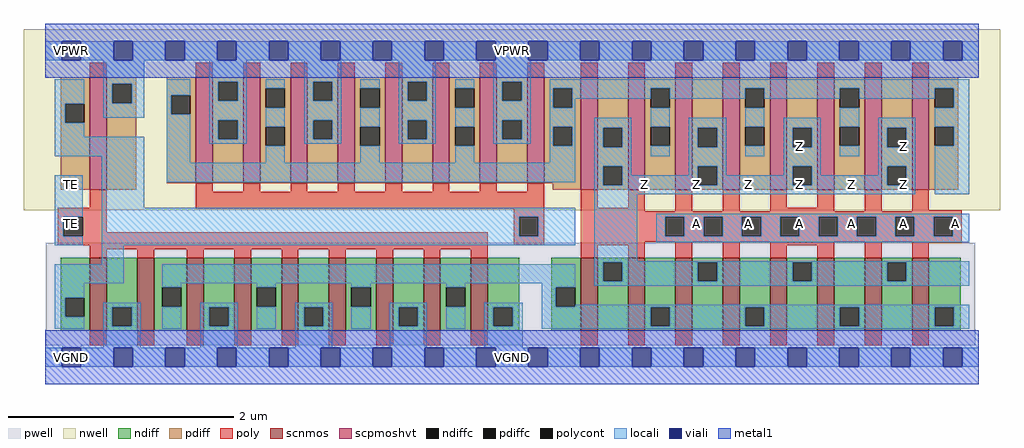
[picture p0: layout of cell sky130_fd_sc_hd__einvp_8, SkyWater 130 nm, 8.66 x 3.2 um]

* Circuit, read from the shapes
.subckt sky130_fd_sc_hd__einvp_8 A TE VGND VNB VPB VPWR Z
XM1 VGND TE n1 VNB sky130_fd_pr__nfet_01v8 w=0.65 l=0.15
XM2 n2 TE VGND VNB sky130_fd_pr__nfet_01v8 w=0.65 l=0.15 m=8
XM3 Z A n2 VNB sky130_fd_pr__nfet_01v8 w=0.65 l=0.15 m=8
XM4 VPWR TE n1 VPB sky130_fd_pr__pfet_01v8_hvt w=1 l=0.15
XM5 VPWR n1 n3 VPB sky130_fd_pr__pfet_01v8_hvt w=0.94 l=0.15 m=8
XM6 Z A n3 VPB sky130_fd_pr__pfet_01v8_hvt w=1 l=0.15 m=8
.ends

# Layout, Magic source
magic
tech sky130B
magscale 1 2
<< nwell >>
rect -38 261 1694 582
<< pwell >>
rect 1 21 1650 203
rect 30 -17 64 21
<< scnmos >>
rect 79 47 109 177
rect 163 47 193 177
rect 251 47 281 177
rect 335 47 365 177
rect 419 47 449 177
rect 503 47 533 177
rect 587 47 617 177
rect 671 47 701 177
rect 755 47 785 177
rect 950 47 980 177
rect 1034 47 1064 177
rect 1118 47 1148 177
rect 1202 47 1232 177
rect 1286 47 1316 177
rect 1370 47 1400 177
rect 1454 47 1484 177
rect 1538 47 1568 177
<< scpmoshvt >>
rect 79 297 109 497
rect 267 309 297 497
rect 351 309 381 497
rect 435 309 465 497
rect 519 309 549 497
rect 603 309 633 497
rect 687 309 717 497
rect 771 309 801 497
rect 855 309 885 497
rect 950 297 980 497
rect 1034 297 1064 497
rect 1118 297 1148 497
rect 1202 297 1232 497
rect 1286 297 1316 497
rect 1370 297 1400 497
rect 1454 297 1484 497
rect 1538 297 1568 497
<< ndiff >>
rect 27 106 79 177
rect 27 72 35 106
rect 69 72 79 106
rect 27 47 79 72
rect 109 89 163 177
rect 109 55 119 89
rect 153 55 163 89
rect 109 47 163 55
rect 193 124 251 177
rect 193 90 207 124
rect 241 90 251 124
rect 193 47 251 90
rect 281 89 335 177
rect 281 55 291 89
rect 325 55 335 89
rect 281 47 335 55
rect 365 124 419 177
rect 365 90 375 124
rect 409 90 419 124
rect 365 47 419 90
rect 449 89 503 177
rect 449 55 459 89
rect 493 55 503 89
rect 449 47 503 55
rect 533 124 587 177
rect 533 90 543 124
rect 577 90 587 124
rect 533 47 587 90
rect 617 89 671 177
rect 617 55 627 89
rect 661 55 671 89
rect 617 47 671 55
rect 701 124 755 177
rect 701 90 711 124
rect 745 90 755 124
rect 701 47 755 90
rect 785 89 841 177
rect 785 55 795 89
rect 829 55 841 89
rect 785 47 841 55
rect 898 124 950 177
rect 898 90 906 124
rect 940 90 950 124
rect 898 47 950 90
rect 980 169 1034 177
rect 980 135 990 169
rect 1024 135 1034 169
rect 980 47 1034 135
rect 1064 89 1118 177
rect 1064 55 1074 89
rect 1108 55 1118 89
rect 1064 47 1118 55
rect 1148 169 1202 177
rect 1148 135 1158 169
rect 1192 135 1202 169
rect 1148 47 1202 135
rect 1232 89 1286 177
rect 1232 55 1242 89
rect 1276 55 1286 89
rect 1232 47 1286 55
rect 1316 169 1370 177
rect 1316 135 1326 169
rect 1360 135 1370 169
rect 1316 47 1370 135
rect 1400 89 1454 177
rect 1400 55 1410 89
rect 1444 55 1454 89
rect 1400 47 1454 55
rect 1484 169 1538 177
rect 1484 135 1494 169
rect 1528 135 1538 169
rect 1484 47 1538 135
rect 1568 89 1624 177
rect 1568 55 1578 89
rect 1612 55 1624 89
rect 1568 47 1624 55
<< pdiff >>
rect 27 450 79 497
rect 27 416 35 450
rect 69 416 79 450
rect 27 297 79 416
rect 109 485 161 497
rect 109 451 119 485
rect 153 451 161 485
rect 109 297 161 451
rect 215 465 267 497
rect 215 431 223 465
rect 257 431 267 465
rect 215 309 267 431
rect 297 489 351 497
rect 297 455 307 489
rect 341 455 351 489
rect 297 421 351 455
rect 297 387 307 421
rect 341 387 351 421
rect 297 309 351 387
rect 381 477 435 497
rect 381 443 391 477
rect 425 443 435 477
rect 381 409 435 443
rect 381 375 391 409
rect 425 375 435 409
rect 381 309 435 375
rect 465 489 519 497
rect 465 455 475 489
rect 509 455 519 489
rect 465 421 519 455
rect 465 387 475 421
rect 509 387 519 421
rect 465 309 519 387
rect 549 477 603 497
rect 549 443 559 477
rect 593 443 603 477
rect 549 409 603 443
rect 549 375 559 409
rect 593 375 603 409
rect 549 309 603 375
rect 633 489 687 497
rect 633 455 643 489
rect 677 455 687 489
rect 633 421 687 455
rect 633 387 643 421
rect 677 387 687 421
rect 633 309 687 387
rect 717 477 771 497
rect 717 443 727 477
rect 761 443 771 477
rect 717 409 771 443
rect 717 375 727 409
rect 761 375 771 409
rect 717 309 771 375
rect 801 489 855 497
rect 801 455 811 489
rect 845 455 855 489
rect 801 421 855 455
rect 801 387 811 421
rect 845 387 855 421
rect 801 309 855 387
rect 885 477 950 497
rect 885 443 901 477
rect 935 443 950 477
rect 885 409 950 443
rect 885 375 901 409
rect 935 375 950 409
rect 885 309 950 375
rect 900 297 950 309
rect 980 407 1034 497
rect 980 373 990 407
rect 1024 373 1034 407
rect 980 339 1034 373
rect 980 305 990 339
rect 1024 305 1034 339
rect 980 297 1034 305
rect 1064 477 1118 497
rect 1064 443 1074 477
rect 1108 443 1118 477
rect 1064 409 1118 443
rect 1064 375 1074 409
rect 1108 375 1118 409
rect 1064 297 1118 375
rect 1148 407 1202 497
rect 1148 373 1158 407
rect 1192 373 1202 407
rect 1148 339 1202 373
rect 1148 305 1158 339
rect 1192 305 1202 339
rect 1148 297 1202 305
rect 1232 477 1286 497
rect 1232 443 1242 477
rect 1276 443 1286 477
rect 1232 409 1286 443
rect 1232 375 1242 409
rect 1276 375 1286 409
rect 1232 297 1286 375
rect 1316 407 1370 497
rect 1316 373 1326 407
rect 1360 373 1370 407
rect 1316 339 1370 373
rect 1316 305 1326 339
rect 1360 305 1370 339
rect 1316 297 1370 305
rect 1400 477 1454 497
rect 1400 443 1410 477
rect 1444 443 1454 477
rect 1400 409 1454 443
rect 1400 375 1410 409
rect 1444 375 1454 409
rect 1400 297 1454 375
rect 1484 407 1538 497
rect 1484 373 1494 407
rect 1528 373 1538 407
rect 1484 339 1538 373
rect 1484 305 1494 339
rect 1528 305 1538 339
rect 1484 297 1538 305
rect 1568 477 1620 497
rect 1568 443 1578 477
rect 1612 443 1620 477
rect 1568 409 1620 443
rect 1568 375 1578 409
rect 1612 375 1620 409
rect 1568 297 1620 375
<< ndiffc >>
rect 35 72 69 106
rect 119 55 153 89
rect 207 90 241 124
rect 291 55 325 89
rect 375 90 409 124
rect 459 55 493 89
rect 543 90 577 124
rect 627 55 661 89
rect 711 90 745 124
rect 795 55 829 89
rect 906 90 940 124
rect 990 135 1024 169
rect 1074 55 1108 89
rect 1158 135 1192 169
rect 1242 55 1276 89
rect 1326 135 1360 169
rect 1410 55 1444 89
rect 1494 135 1528 169
rect 1578 55 1612 89
<< pdiffc >>
rect 35 416 69 450
rect 119 451 153 485
rect 223 431 257 465
rect 307 455 341 489
rect 307 387 341 421
rect 391 443 425 477
rect 391 375 425 409
rect 475 455 509 489
rect 475 387 509 421
rect 559 443 593 477
rect 559 375 593 409
rect 643 455 677 489
rect 643 387 677 421
rect 727 443 761 477
rect 727 375 761 409
rect 811 455 845 489
rect 811 387 845 421
rect 901 443 935 477
rect 901 375 935 409
rect 990 373 1024 407
rect 990 305 1024 339
rect 1074 443 1108 477
rect 1074 375 1108 409
rect 1158 373 1192 407
rect 1158 305 1192 339
rect 1242 443 1276 477
rect 1242 375 1276 409
rect 1326 373 1360 407
rect 1326 305 1360 339
rect 1410 443 1444 477
rect 1410 375 1444 409
rect 1494 373 1528 407
rect 1494 305 1528 339
rect 1578 443 1612 477
rect 1578 375 1612 409
<< poly >>
rect 79 497 109 523
rect 267 497 297 523
rect 351 497 381 523
rect 435 497 465 523
rect 519 497 549 523
rect 603 497 633 523
rect 687 497 717 523
rect 771 497 801 523
rect 855 497 885 523
rect 950 497 980 523
rect 1034 497 1064 523
rect 1118 497 1148 523
rect 1202 497 1232 523
rect 1286 497 1316 523
rect 1370 497 1400 523
rect 1454 497 1484 523
rect 1538 497 1568 523
rect 79 265 109 297
rect 22 249 109 265
rect 267 294 297 309
rect 351 294 381 309
rect 435 294 465 309
rect 519 294 549 309
rect 603 294 633 309
rect 687 294 717 309
rect 771 294 801 309
rect 855 294 885 309
rect 267 264 885 294
rect 22 215 32 249
rect 66 222 109 249
rect 831 249 885 264
rect 66 215 785 222
rect 22 199 785 215
rect 831 215 841 249
rect 875 215 885 249
rect 831 199 885 215
rect 950 265 980 297
rect 1034 265 1064 297
rect 950 259 1064 265
rect 1118 259 1148 297
rect 1202 259 1232 297
rect 1286 265 1316 297
rect 1370 265 1400 297
rect 1286 259 1400 265
rect 1454 259 1484 297
rect 1538 261 1568 297
rect 1538 259 1626 261
rect 950 249 1626 259
rect 950 215 1100 249
rect 1134 215 1168 249
rect 1202 215 1236 249
rect 1270 215 1304 249
rect 1338 215 1372 249
rect 1406 215 1440 249
rect 1474 215 1508 249
rect 1542 215 1576 249
rect 1610 215 1626 249
rect 950 205 1626 215
rect 950 199 1064 205
rect 79 192 785 199
rect 79 177 109 192
rect 163 177 193 192
rect 251 177 281 192
rect 335 177 365 192
rect 419 177 449 192
rect 503 177 533 192
rect 587 177 617 192
rect 671 177 701 192
rect 755 177 785 192
rect 950 177 980 199
rect 1034 177 1064 199
rect 1118 177 1148 205
rect 1202 177 1232 205
rect 1286 199 1400 205
rect 1286 177 1316 199
rect 1370 177 1400 199
rect 1454 177 1484 205
rect 1538 203 1626 205
rect 1538 177 1568 203
rect 79 21 109 47
rect 163 21 193 47
rect 251 21 281 47
rect 335 21 365 47
rect 419 21 449 47
rect 503 21 533 47
rect 587 21 617 47
rect 671 21 701 47
rect 755 21 785 47
rect 950 21 980 47
rect 1034 21 1064 47
rect 1118 21 1148 47
rect 1202 21 1232 47
rect 1286 21 1316 47
rect 1370 21 1400 47
rect 1454 21 1484 47
rect 1538 21 1568 47
<< polycont >>
rect 32 215 66 249
rect 841 215 875 249
rect 1100 215 1134 249
rect 1168 215 1202 249
rect 1236 215 1270 249
rect 1304 215 1338 249
rect 1372 215 1406 249
rect 1440 215 1474 249
rect 1508 215 1542 249
rect 1576 215 1610 249
<< locali >>
rect 0 527 29 561
rect 63 527 121 561
rect 155 527 213 561
rect 247 527 305 561
rect 339 527 397 561
rect 431 527 489 561
rect 523 527 581 561
rect 615 527 673 561
rect 707 527 765 561
rect 799 527 857 561
rect 891 527 949 561
rect 983 527 1041 561
rect 1075 527 1133 561
rect 1167 527 1225 561
rect 1259 527 1317 561
rect 1351 527 1409 561
rect 1443 527 1501 561
rect 1535 527 1593 561
rect 1627 527 1656 561
rect 17 450 69 493
rect 17 416 35 450
rect 103 485 175 527
rect 103 451 119 485
rect 153 451 175 485
rect 103 425 175 451
rect 215 465 257 493
rect 215 431 223 465
rect 17 391 69 416
rect 17 357 175 391
rect 17 249 66 323
rect 17 215 32 249
rect 17 199 66 215
rect 100 265 175 357
rect 215 345 257 431
rect 291 489 357 527
rect 291 455 307 489
rect 341 455 357 489
rect 291 421 357 455
rect 291 387 307 421
rect 341 387 357 421
rect 291 379 357 387
rect 391 477 425 493
rect 391 409 425 443
rect 459 489 525 527
rect 459 455 475 489
rect 509 455 525 489
rect 459 421 525 455
rect 459 387 475 421
rect 509 387 525 421
rect 459 379 525 387
rect 559 477 593 493
rect 559 409 593 443
rect 391 345 425 375
rect 627 489 693 527
rect 627 455 643 489
rect 677 455 693 489
rect 627 421 693 455
rect 627 387 643 421
rect 677 387 693 421
rect 627 379 693 387
rect 727 477 761 493
rect 727 409 761 443
rect 559 345 593 375
rect 795 489 861 527
rect 795 455 811 489
rect 845 455 861 489
rect 795 421 861 455
rect 795 387 811 421
rect 845 387 861 421
rect 795 379 861 387
rect 895 477 1639 493
rect 895 443 901 477
rect 935 459 1074 477
rect 935 443 940 459
rect 895 409 940 443
rect 1108 459 1242 477
rect 727 345 761 375
rect 895 375 901 409
rect 935 375 940 409
rect 895 345 940 375
rect 215 311 940 345
rect 974 407 1040 425
rect 974 373 990 407
rect 1024 373 1040 407
rect 974 339 1040 373
rect 1074 409 1108 443
rect 1276 459 1410 477
rect 1074 357 1108 375
rect 1142 407 1208 425
rect 1142 373 1158 407
rect 1192 373 1208 407
rect 974 305 990 339
rect 1024 323 1040 339
rect 1142 339 1208 373
rect 1242 409 1276 443
rect 1444 459 1578 477
rect 1242 357 1276 375
rect 1310 407 1376 425
rect 1310 373 1326 407
rect 1360 373 1376 407
rect 1142 323 1158 339
rect 1024 305 1158 323
rect 1192 323 1208 339
rect 1310 339 1376 373
rect 1410 409 1444 443
rect 1612 443 1639 477
rect 1410 357 1444 375
rect 1478 407 1544 425
rect 1478 373 1494 407
rect 1528 373 1544 407
rect 1310 323 1326 339
rect 1192 305 1326 323
rect 1360 323 1376 339
rect 1478 339 1544 373
rect 1478 323 1494 339
rect 1360 305 1494 323
rect 1528 305 1544 339
rect 974 289 1544 305
rect 1578 409 1639 443
rect 1612 375 1639 409
rect 1578 289 1639 375
rect 100 249 940 265
rect 100 215 841 249
rect 875 215 940 249
rect 100 199 940 215
rect 100 165 139 199
rect 974 170 1050 289
rect 1084 249 1639 255
rect 1084 215 1100 249
rect 1134 215 1168 249
rect 1202 215 1236 249
rect 1270 215 1304 249
rect 1338 215 1372 249
rect 1406 215 1440 249
rect 1474 215 1508 249
rect 1542 215 1576 249
rect 1610 215 1639 249
rect 1084 204 1639 215
rect 974 169 1639 170
rect 17 131 139 165
rect 207 131 940 165
rect 17 106 69 131
rect 17 72 35 106
rect 207 124 241 131
rect 17 51 69 72
rect 103 89 169 97
rect 103 55 119 89
rect 153 55 169 89
rect 103 17 169 55
rect 375 124 409 131
rect 207 51 241 90
rect 275 89 341 97
rect 275 55 291 89
rect 325 55 341 89
rect 275 17 341 55
rect 543 124 577 131
rect 375 51 409 90
rect 443 89 509 97
rect 443 55 459 89
rect 493 55 509 89
rect 443 17 509 55
rect 711 124 745 131
rect 543 51 577 90
rect 611 89 677 97
rect 611 55 627 89
rect 661 55 677 89
rect 611 17 677 55
rect 881 124 940 131
rect 974 135 990 169
rect 1024 135 1158 169
rect 1192 135 1326 169
rect 1360 135 1494 169
rect 1528 135 1639 169
rect 974 127 1639 135
rect 711 51 745 90
rect 779 89 847 97
rect 779 55 795 89
rect 829 55 847 89
rect 779 17 847 55
rect 881 90 906 124
rect 940 90 1639 93
rect 881 89 1639 90
rect 881 55 1074 89
rect 1108 55 1242 89
rect 1276 55 1410 89
rect 1444 55 1578 89
rect 1612 55 1639 89
rect 881 51 1639 55
rect 0 -17 29 17
rect 63 -17 121 17
rect 155 -17 213 17
rect 247 -17 305 17
rect 339 -17 397 17
rect 431 -17 489 17
rect 523 -17 581 17
rect 615 -17 673 17
rect 707 -17 765 17
rect 799 -17 857 17
rect 891 -17 949 17
rect 983 -17 1041 17
rect 1075 -17 1133 17
rect 1167 -17 1225 17
rect 1259 -17 1317 17
rect 1351 -17 1409 17
rect 1443 -17 1501 17
rect 1535 -17 1593 17
rect 1627 -17 1656 17
<< viali >>
rect 29 527 63 561
rect 121 527 155 561
rect 213 527 247 561
rect 305 527 339 561
rect 397 527 431 561
rect 489 527 523 561
rect 581 527 615 561
rect 673 527 707 561
rect 765 527 799 561
rect 857 527 891 561
rect 949 527 983 561
rect 1041 527 1075 561
rect 1133 527 1167 561
rect 1225 527 1259 561
rect 1317 527 1351 561
rect 1409 527 1443 561
rect 1501 527 1535 561
rect 1593 527 1627 561
rect 29 -17 63 17
rect 121 -17 155 17
rect 213 -17 247 17
rect 305 -17 339 17
rect 397 -17 431 17
rect 489 -17 523 17
rect 581 -17 615 17
rect 673 -17 707 17
rect 765 -17 799 17
rect 857 -17 891 17
rect 949 -17 983 17
rect 1041 -17 1075 17
rect 1133 -17 1167 17
rect 1225 -17 1259 17
rect 1317 -17 1351 17
rect 1409 -17 1443 17
rect 1501 -17 1535 17
rect 1593 -17 1627 17
<< metal1 >>
rect 0 561 1656 592
rect 0 527 29 561
rect 63 527 121 561
rect 155 527 213 561
rect 247 527 305 561
rect 339 527 397 561
rect 431 527 489 561
rect 523 527 581 561
rect 615 527 673 561
rect 707 527 765 561
rect 799 527 857 561
rect 891 527 949 561
rect 983 527 1041 561
rect 1075 527 1133 561
rect 1167 527 1225 561
rect 1259 527 1317 561
rect 1351 527 1409 561
rect 1443 527 1501 561
rect 1535 527 1593 561
rect 1627 527 1656 561
rect 0 496 1656 527
rect 0 17 1656 48
rect 0 -17 29 17
rect 63 -17 121 17
rect 155 -17 213 17
rect 247 -17 305 17
rect 339 -17 397 17
rect 431 -17 489 17
rect 523 -17 581 17
rect 615 -17 673 17
rect 707 -17 765 17
rect 799 -17 857 17
rect 891 -17 949 17
rect 983 -17 1041 17
rect 1075 -17 1133 17
rect 1167 -17 1225 17
rect 1259 -17 1317 17
rect 1351 -17 1409 17
rect 1443 -17 1501 17
rect 1535 -17 1593 17
rect 1627 -17 1656 17
rect 0 -48 1656 -17
<< labels >>
flabel locali s 1322 221 1356 255 0 FreeSans 200 0 0 0 A
port 1 nsew signal input
flabel locali s 1230 221 1264 255 0 FreeSans 200 0 0 0 A
port 1 nsew signal input
flabel locali s 1138 221 1172 255 0 FreeSans 200 0 0 0 A
port 1 nsew signal input
flabel locali s 1598 221 1632 255 0 FreeSans 200 0 0 0 A
port 1 nsew signal input
flabel locali s 1506 221 1540 255 0 FreeSans 200 0 0 0 A
port 1 nsew signal input
flabel locali s 1414 221 1448 255 0 FreeSans 200 0 0 0 A
port 1 nsew signal input
flabel locali s 1322 357 1356 391 0 FreeSans 200 0 0 0 Z
port 7 nsew signal output
flabel locali s 1506 357 1540 391 0 FreeSans 200 0 0 0 Z
port 7 nsew signal output
flabel locali s 1506 289 1540 323 0 FreeSans 200 0 0 0 Z
port 7 nsew signal output
flabel locali s 1414 289 1448 323 0 FreeSans 200 0 0 0 Z
port 7 nsew signal output
flabel locali s 30 221 64 255 0 FreeSans 200 0 0 0 TE
port 2 nsew signal input
flabel locali s 30 289 64 323 0 FreeSans 200 0 0 0 TE
port 2 nsew signal input
flabel locali s 1138 289 1172 323 0 FreeSans 200 0 0 0 Z
port 7 nsew signal output
flabel locali s 1046 289 1080 323 0 FreeSans 200 0 0 0 Z
port 7 nsew signal output
flabel locali s 1322 289 1356 323 0 FreeSans 200 0 0 0 Z
port 7 nsew signal output
flabel locali s 1230 289 1264 323 0 FreeSans 200 0 0 0 Z
port 7 nsew signal output
flabel metal1 s 30 527 64 561 0 FreeSans 200 0 0 0 VPWR
port 6 nsew power bidirectional abutment
flabel metal1 s 30 -17 64 17 0 FreeSans 200 0 0 0 VGND
port 3 nsew ground bidirectional abutment
flabel nwell s 30 527 64 561 0 FreeSans 200 0 0 0 VPB
port 5 nsew power bidirectional
flabel pwell s 30 -17 64 17 0 FreeSans 200 0 0 0 VNB
port 4 nsew ground bidirectional
rlabel comment s 0 0 0 0 4 einvp_8
rlabel metal1 s 0 -48 1656 48 1 VGND
port 3 nsew ground bidirectional abutment
rlabel metal1 s 0 496 1656 592 1 VPWR
port 6 nsew power bidirectional abutment
<< properties >>
string FIXED_BBOX 0 0 1656 544
string GDS_END 2051578
string GDS_FILE $PDKPATH/libs.ref/sky130_fd_sc_hd/gds/sky130_fd_sc_hd.gds
string GDS_START 2038956
string LEFclass CORE
string LEFsite unithd
string LEFsymmetry X Y R90
string path 0.000 13.600 41.400 13.600 
<< end >>
